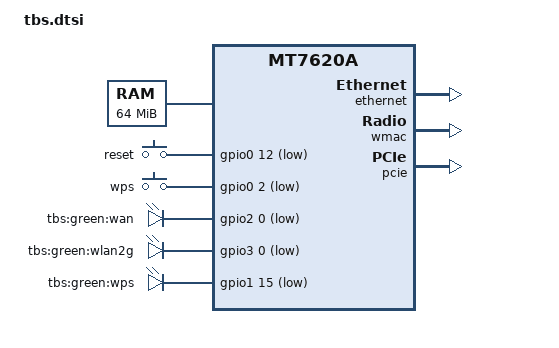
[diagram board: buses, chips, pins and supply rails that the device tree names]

#include "mt7620a.dtsi"

#include <dt-bindings/gpio/gpio.h>
#include <dt-bindings/input/input.h>

/ {

	aliases {
		led-boot = &led_power;
		led-failsafe = &led_power;
		led-upgrade = &led_power;
	};

	chosen {
		bootargs = "console=ttyS0,115200";
	};

	memory@0 {
		device_type = "memory";
		reg = <0x0 0x4000000>;
	};

	gpio-keys-polled {
		compatible = "gpio-keys-polled";
		#address-cells = <1>;
		#size-cells = <0>;
		poll-interval = <20>;

		reset {
			label = "reset";
			gpios = <&gpio0 12 GPIO_ACTIVE_LOW>;
			linux,code = <KEY_RESTART>;
		};

		wps {
			label = "wps";
			gpios = <&gpio0 2 GPIO_ACTIVE_LOW>;
			linux,code = <KEY_WPS_BUTTON>;
		};
	};

	gpio-leds {
		compatible = "gpio-leds";

		wan {
			label = "tbs:green:wan";
			gpios = <&gpio2 0 GPIO_ACTIVE_LOW>;
		};

		wlan2g {
			label = "tbs:green:wlan2g";
			gpios = <&gpio3 0 GPIO_ACTIVE_LOW>;
		};

		led_power: wps {
			label = "tbs:green:wps";
			gpios = <&gpio1 15 GPIO_ACTIVE_LOW>;
		};
	};
};

&gpio0 {
	status = "okay";
};
&gpio1 {
	status = "okay";
};
&gpio2 {
	status = "okay";
};
&gpio3 {
	status = "okay";
};

&pinctrl {
	state_default: pinctrl0 {
		gpio {
			ralink,group = "i2c", "uartf", "wled", "ephy", "spi refclk";
			ralink,function = "gpio";
		};
	};
};

&ethernet {
	status = "okay";
	pinctrl-names = "default";
	mediatek,portmap = "llllw";
};

&gsw {
	mediatek,port4 = "ephy";
};

&wmac {
	status = "okay";
	pinctrl-names = "default";
	pinctrl-0 = <&pa_pins>;
};

&pcie {
	status = "okay";
};

&pcie0 {
	mt76@0,0 {
		reg = <0x0000 0 0 0 0>;
		device_type = "pci";
		ieee80211-freq-limit = <5000000 6000000>;
		led {
			led-active-low;
		};
	};
};


